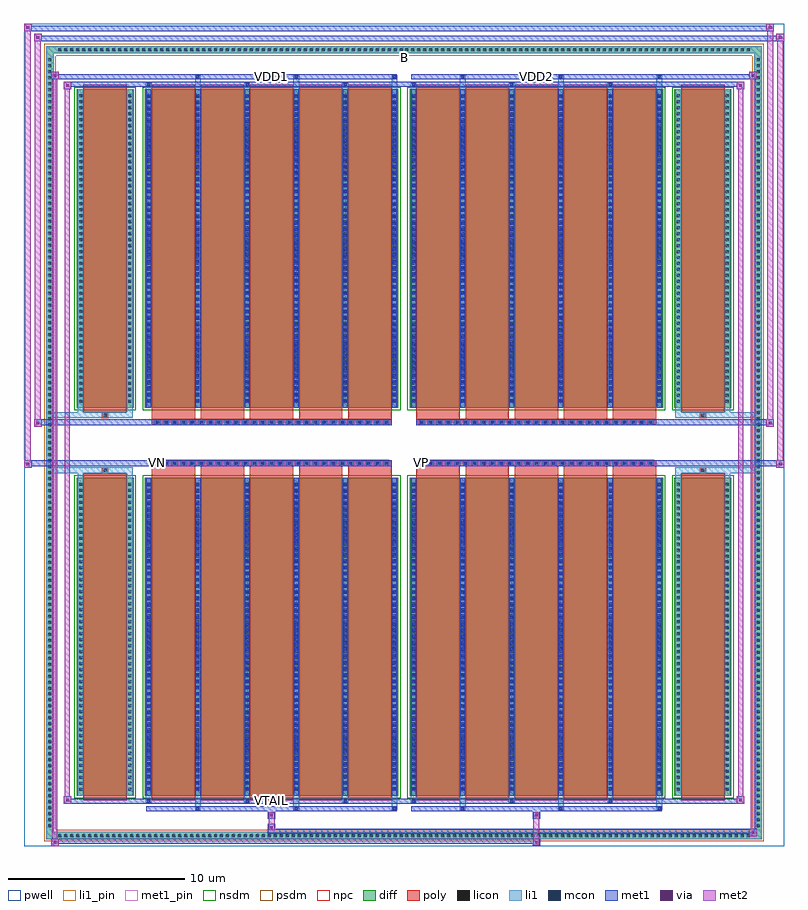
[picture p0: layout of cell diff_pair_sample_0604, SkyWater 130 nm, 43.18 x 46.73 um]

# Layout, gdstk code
import gdstk
lib = gdstk.Library(unit=1e-6, precision=5e-09)
def R(c, l, rs):  # rectangles x0, y0, x1, y1
    for r in rs: c.add(gdstk.rectangle(r[:2], r[2:], *l))
def A(c, l, x, y, w, h, nx, ny, dx, dy):  # array of equal rectangles
    R(c, l, [(x+i*dx, y+j*dy, x+i*dx+w, y+j*dy+h) for i in range(nx) for j in range(ny)])
def P(c, l, *ps):  # polygons
    for p in ps: c.add(gdstk.Polygon(p, *l))
pwell = (64, 44)
diff = (65, 20)
poly = (66, 20)
licon = (66, 44)
li1_pin = (67, 16)
li1 = (67, 20)
mcon = (67, 44)
met1_pin = (68, 16)
met1 = (68, 20)
via = (68, 44)
met2 = (69, 20)
nsdm = (93, 44)
psdm = (94, 20)
npc = (95, 20)

diff_pair_sample_0604 = lib.new_cell('diff_pair_sample_0604')
R(diff_pair_sample_0604, pwell, [(-21.59,-22.93,21.59,23.8), (-18.91,-21.12,-0.01,-0.8), (0.01,-21.12,18.91,-0.8), (-18.91,0.8,-0.01,21.12), (0.01,0.8,18.91,21.12)])
A(diff_pair_sample_0604, diff, -19.755, -22.53, 0.41, 0.41, 116, 2, 0.34, 44.65)
A(diff_pair_sample_0604, diff, -20.32, -21.965, 0.41, 0.41, 1, 129, 0, 0.34)
A(diff_pair_sample_0604, diff, 19.91, -21.965, 0.41, 0.41, 1, 129, 0, 0.34)
R(diff_pair_sample_0604, diff, [(-19.755,-22.53,19.755,-22.12), (-20.32,-21.965,-19.91,21.965), (19.91,-21.965,20.32,21.965), (-18.6,-20.075,-15.36,-1.985), (-14.72,-20.075,-0.32,-1.985), (0.32,-20.075,14.72,-1.985), (15.36,-20.075,18.6,-1.985), (-18.6,1.985,-15.36,20.075), (-14.72,1.985,-0.32,20.075), (0.32,1.985,14.72,20.075), (15.36,1.985,18.6,20.075), (-19.755,22.12,19.755,22.53)])
P(diff_pair_sample_0604, diff, [(20.32,22.53),(-20.32,22.53),(-20.32,-22.12),(-19.91,-22.12),(-19.91,22.12),(19.91,22.12),(19.91,-22.12),(-19.91,-22.12),(-20.32,-22.12),(-20.32,-22.53),(20.32,-22.53)])
A(diff_pair_sample_0604, poly, -14.33, -20.325, 2.46, 18.59, 5, 2, 2.79, 22.06)
A(diff_pair_sample_0604, poly, 0.71, -20.325, 2.46, 18.59, 5, 2, 2.79, 22.06)
A(diff_pair_sample_0604, poly, -14.33, -1.735, 2.46, 0.405, 5, 2, 2.79, 3.065)
A(diff_pair_sample_0604, poly, 0.71, -1.735, 2.46, 0.405, 5, 2, 2.79, 3.065)
A(diff_pair_sample_0604, poly, -14.185, -1.33, 0.33, 0.33, 27, 2, 0.5, 2.33)
A(diff_pair_sample_0604, poly, 0.855, -1.33, 0.33, 0.33, 27, 2, 0.5, 2.33)
R(diff_pair_sample_0604, poly, [(-18.21,-20.325,-15.75,-1.735), (15.75,-20.325,18.21,-1.735), (-17.145,-1.735,-16.815,-1.405), (-17.145,-1.735,-16.815,-1.405), (16.815,-1.735,17.145,-1.405), (16.815,-1.735,17.145,-1.405), (-14.33,-1.33,-0.71,-1), (0.71,-1.33,14.33,-1), (-14.33,1,-0.71,1.33), (0.71,1,14.33,1.33), (-17.145,1.405,-16.815,1.735), (-17.145,1.405,-16.815,1.735), (16.815,1.405,17.145,1.735), (16.815,1.405,17.145,1.735), (-18.21,1.735,-15.75,20.325), (15.75,1.735,18.21,20.325)])
A(diff_pair_sample_0604, licon, -19.635, -22.41, 0.17, 0.17, 116, 2, 0.34, 44.65)
A(diff_pair_sample_0604, licon, -20.2, -21.845, 0.17, 0.17, 1, 129, 0, 0.34)
A(diff_pair_sample_0604, licon, 20.03, -21.845, 0.17, 0.17, 1, 129, 0, 0.34)
A(diff_pair_sample_0604, licon, -18.46, -19.785, 0.17, 0.17, 1, 52, 0, 0.34)
A(diff_pair_sample_0604, licon, -15.67, -19.785, 0.17, 0.17, 1, 52, 0, 0.34)
A(diff_pair_sample_0604, licon, -14.58, -19.785, 0.17, 0.17, 6, 52, 2.79, 0.34)
A(diff_pair_sample_0604, licon, 0.46, -19.785, 0.17, 0.17, 6, 52, 2.79, 0.34)
A(diff_pair_sample_0604, licon, 15.5, -19.785, 0.17, 0.17, 1, 52, 0, 0.34)
A(diff_pair_sample_0604, licon, 18.29, -19.785, 0.17, 0.17, 1, 52, 0, 0.34)
A(diff_pair_sample_0604, licon, -14.105, -1.25, 0.17, 0.17, 27, 2, 0.5, 2.33)
A(diff_pair_sample_0604, licon, 0.935, -1.25, 0.17, 0.17, 27, 2, 0.5, 2.33)
A(diff_pair_sample_0604, licon, -18.46, 2.275, 0.17, 0.17, 1, 52, 0, 0.34)
A(diff_pair_sample_0604, licon, -15.67, 2.275, 0.17, 0.17, 1, 52, 0, 0.34)
A(diff_pair_sample_0604, licon, -14.58, 2.275, 0.17, 0.17, 6, 52, 2.79, 0.34)
A(diff_pair_sample_0604, licon, 0.46, 2.275, 0.17, 0.17, 6, 52, 2.79, 0.34)
A(diff_pair_sample_0604, licon, 15.5, 2.275, 0.17, 0.17, 1, 52, 0, 0.34)
A(diff_pair_sample_0604, licon, 18.29, 2.275, 0.17, 0.17, 1, 52, 0, 0.34)
R(diff_pair_sample_0604, licon, [(-17.065,-1.655,-16.895,-1.485), (16.895,-1.655,17.065,-1.485), (-17.065,1.485,-16.895,1.655), (16.895,1.485,17.065,1.655)])
R(diff_pair_sample_0604, li1_pin, [(-0.25,21.62,0.25,22.12)])
A(diff_pair_sample_0604, li1, -19.715, -22.49, 0.33, 0.33, 116, 2, 0.34, 44.65)
A(diff_pair_sample_0604, li1, -20.28, -21.925, 0.33, 0.33, 1, 129, 0, 0.34)
A(diff_pair_sample_0604, li1, 19.95, -21.925, 0.33, 0.33, 1, 129, 0, 0.34)
A(diff_pair_sample_0604, li1, -11.87, -20.88, 0.33, 0.805, 3, 2, 5.58, 40.955)
A(diff_pair_sample_0604, li1, -11.79, -20.88, 0.17, 0.17, 3, 2, 5.58, 41.59)
A(diff_pair_sample_0604, li1, 3.17, -20.88, 0.33, 0.805, 3, 2, 5.58, 40.955)
A(diff_pair_sample_0604, li1, 3.25, -20.88, 0.17, 0.17, 3, 2, 5.58, 41.59)
A(diff_pair_sample_0604, li1, -14.66, -20.45, 0.33, 0.375, 3, 2, 5.58, 40.525)
A(diff_pair_sample_0604, li1, -14.58, -20.45, 0.17, 0.17, 3, 2, 5.58, 40.73)
A(diff_pair_sample_0604, li1, 0.38, -20.45, 0.33, 0.375, 3, 2, 5.58, 40.525)
A(diff_pair_sample_0604, li1, 0.46, -20.45, 0.17, 0.17, 3, 2, 5.58, 40.73)
A(diff_pair_sample_0604, li1, -14.66, -20.075, 0.33, 18.09, 6, 2, 2.79, 22.06)
A(diff_pair_sample_0604, li1, 0.38, -20.075, 0.33, 18.09, 6, 2, 2.79, 22.06)
A(diff_pair_sample_0604, li1, -18.54, -19.865, 0.33, 0.33, 1, 52, 0, 0.34)
A(diff_pair_sample_0604, li1, -15.75, -19.865, 0.33, 0.33, 1, 52, 0, 0.34)
A(diff_pair_sample_0604, li1, -14.66, -19.865, 0.33, 0.33, 6, 52, 2.79, 0.34)
A(diff_pair_sample_0604, li1, 0.38, -19.865, 0.33, 0.33, 6, 52, 2.79, 0.34)
A(diff_pair_sample_0604, li1, 15.42, -19.865, 0.33, 0.33, 1, 52, 0, 0.34)
A(diff_pair_sample_0604, li1, 18.21, -19.865, 0.33, 0.33, 1, 52, 0, 0.34)
A(diff_pair_sample_0604, li1, -14.58, -19.755, 0.17, 0.17, 6, 49, 2.79, 0.36)
A(diff_pair_sample_0604, li1, -14.58, -19.755, 0.17, 17.45, 6, 2, 2.79, 22.06)
A(diff_pair_sample_0604, li1, 0.46, -19.755, 0.17, 0.17, 6, 49, 2.79, 0.36)
A(diff_pair_sample_0604, li1, 0.46, -19.755, 0.17, 17.45, 6, 2, 2.79, 22.06)
A(diff_pair_sample_0604, li1, -14.185, -1.33, 0.33, 0.33, 27, 2, 0.5, 2.33)
A(diff_pair_sample_0604, li1, 0.855, -1.33, 0.33, 0.33, 27, 2, 0.5, 2.33)
A(diff_pair_sample_0604, li1, -18.54, 2.195, 0.33, 0.33, 1, 52, 0, 0.34)
A(diff_pair_sample_0604, li1, -15.75, 2.195, 0.33, 0.33, 1, 52, 0, 0.34)
A(diff_pair_sample_0604, li1, -14.66, 2.195, 0.33, 0.33, 6, 52, 2.79, 0.34)
A(diff_pair_sample_0604, li1, 0.38, 2.195, 0.33, 0.33, 6, 52, 2.79, 0.34)
A(diff_pair_sample_0604, li1, 15.42, 2.195, 0.33, 0.33, 1, 52, 0, 0.34)
A(diff_pair_sample_0604, li1, 18.21, 2.195, 0.33, 0.33, 1, 52, 0, 0.34)
A(diff_pair_sample_0604, li1, -14.58, 2.305, 0.17, 0.17, 6, 49, 2.79, 0.36)
A(diff_pair_sample_0604, li1, 0.46, 2.305, 0.17, 0.17, 6, 49, 2.79, 0.36)
R(diff_pair_sample_0604, li1, [(-20.32,-22.53,-19.91,-22.12), (-20.32,-22.53,-19.91,-22.12), (-19.91,-22.53,19.91,-22.12), (19.91,-22.53,20.32,-22.12), (19.91,-22.53,20.32,-22.12), (-20.32,-22.12,-19.91,22.12), (19.91,-22.12,20.32,22.12), (-18.54,-20.075,-18.21,-1.985), (-15.75,-20.075,-15.42,-1.985), (15.42,-20.075,15.75,-1.985), (18.21,-20.075,18.54,-1.985), (-18.54,-1.985,-18.21,-1.405), (-15.75,-1.985,-15.42,-1.405), (15.42,-1.985,15.75,-1.405), (18.21,-1.985,18.54,-1.405), (-20.32,-1.735,-17.145,-1.405), (-18.54,-1.735,-17.145,-1.405), (-17.145,-1.735,-16.815,-1.405), (-16.815,-1.735,-15.42,-1.405), (15.42,-1.735,16.815,-1.405), (16.815,-1.735,17.145,-1.405), (16.815,-1.735,20.32,-1.405), (17.145,-1.735,18.54,-1.405), (-20.32,1.405,-17.145,1.735), (-18.54,1.405,-17.145,1.735), (-18.54,1.405,-18.21,1.985), (-17.145,1.405,-16.815,1.735), (-16.815,1.405,-15.42,1.735), (-15.75,1.405,-15.42,1.985), (15.42,1.405,16.815,1.735), (15.42,1.405,15.75,1.985), (16.815,1.405,17.145,1.735), (16.815,1.405,20.32,1.735), (17.145,1.405,18.54,1.735), (18.21,1.405,18.54,1.985), (-18.54,1.985,-18.21,20.075), (-15.75,1.985,-15.42,20.075), (15.42,1.985,15.75,20.075), (18.21,1.985,18.54,20.075), (-20.32,22.12,-19.91,22.53), (-20.32,22.12,-19.91,22.53), (-19.91,22.12,19.91,22.53), (19.91,22.12,20.32,22.53), (19.91,22.12,20.32,22.53)])
A(diff_pair_sample_0604, mcon, -11.79, -20.88, 0.17, 0.17, 3, 2, 5.58, 41.59)
A(diff_pair_sample_0604, mcon, 3.25, -20.88, 0.17, 0.17, 3, 2, 5.58, 41.59)
A(diff_pair_sample_0604, mcon, -14.58, -20.45, 0.17, 0.17, 3, 2, 5.58, 40.73)
A(diff_pair_sample_0604, mcon, 0.46, -20.45, 0.17, 0.17, 3, 2, 5.58, 40.73)
A(diff_pair_sample_0604, mcon, -14.58, -19.755, 0.17, 0.17, 6, 49, 2.79, 0.36)
A(diff_pair_sample_0604, mcon, 0.46, -19.755, 0.17, 0.17, 6, 49, 2.79, 0.36)
A(diff_pair_sample_0604, mcon, -14.105, -1.25, 0.17, 0.17, 27, 2, 0.5, 2.33)
A(diff_pair_sample_0604, mcon, 0.935, -1.25, 0.17, 0.17, 27, 2, 0.5, 2.33)
A(diff_pair_sample_0604, mcon, -14.58, 2.305, 0.17, 0.17, 6, 49, 2.79, 0.36)
A(diff_pair_sample_0604, mcon, 0.46, 2.305, 0.17, 0.17, 6, 49, 2.79, 0.36)
R(diff_pair_sample_0604, met1_pin, [(-7.655,-20.49,-7.385,-20.22), (-14.155,-1.29,-13.885,-1.02), (0.885,-1.29,1.155,-1.02), (-7.655,20.67,-7.385,20.94), (7.385,20.67,7.655,20.94)])
A(diff_pair_sample_0604, met1, -11.85, -20.94, 0.29, 0.29, 3, 2, 5.58, 41.59)
A(diff_pair_sample_0604, met1, 3.19, -20.94, 0.29, 0.29, 3, 2, 5.58, 41.59)
A(diff_pair_sample_0604, met1, -14.64, -20.51, 0.29, 0.29, 3, 2, 5.58, 40.73)
A(diff_pair_sample_0604, met1, 0.4, -20.51, 0.29, 0.29, 3, 2, 5.58, 40.73)
A(diff_pair_sample_0604, met1, -14.64, -20.075, 0.29, 18.09, 6, 2, 2.79, 22.06)
A(diff_pair_sample_0604, met1, 0.4, -20.075, 0.29, 18.09, 6, 2, 2.79, 22.06)
A(diff_pair_sample_0604, met1, -14.64, -19.815, 0.29, 0.29, 6, 49, 2.79, 0.36)
A(diff_pair_sample_0604, met1, 0.4, -19.815, 0.29, 0.29, 6, 49, 2.79, 0.36)
A(diff_pair_sample_0604, met1, -14.165, -1.31, 0.29, 0.29, 27, 2, 0.5, 2.33)
A(diff_pair_sample_0604, met1, 0.875, -1.31, 0.29, 0.29, 27, 2, 0.5, 2.33)
A(diff_pair_sample_0604, met1, -14.64, 2.245, 0.29, 0.29, 6, 49, 2.79, 0.36)
A(diff_pair_sample_0604, met1, 0.4, 2.245, 0.29, 0.29, 6, 49, 2.79, 0.36)
R(diff_pair_sample_0604, met1, [(-20.05,-22.93,-19.62,-22.5), (7.305,-22.93,7.735,-22.5), (-20.05,-22.79,7.735,-22.5), (19.62,-22.36,20.05,-21.93), (-7.735,-22.22,20.05,-21.93), (-7.735,-22.08,-7.305,-21.65), (-7.735,-21.37,-7.305,-20.94), (7.305,-21.37,7.735,-20.94), (-14.64,-20.94,-0.4,-20.65), (0.4,-20.94,14.64,-20.65), (-19.34,-20.51,-18.91,-20.08), (-19.34,-20.51,-14.64,-20.22), (-14.64,-20.51,-0.4,-20.22), (-0.4,-20.51,0.4,-20.22), (0.4,-20.51,14.64,-20.22), (14.64,-20.51,19.34,-20.22), (18.91,-20.51,19.34,-20.08), (-21.59,-1.43,-21.16,-1), (21.16,-1.43,21.59,-1), (-21.59,-1.33,-0.71,-1), (-14.33,-1.33,-0.71,-1), (0.71,-1.33,14.33,-1), (0.71,-1.33,21.59,-1), (-21.02,0.9,-20.59,1.33), (20.59,0.9,21.02,1.33), (-21.02,1,-14.33,1.33), (-14.33,1,-0.71,1.33), (0.71,1,14.33,1.33), (14.33,1,21.02,1.33), (-19.34,20.08,-18.91,20.51), (18.91,20.08,19.34,20.51), (-19.34,20.22,-14.64,20.51), (-14.64,20.22,-0.4,20.51), (-0.4,20.22,0.4,20.51), (0.4,20.22,14.64,20.51), (14.64,20.22,19.34,20.51), (-20.05,20.65,-19.62,21.08), (-20.05,20.65,-14.64,20.94), (-14.64,20.65,-0.4,20.94), (0.4,20.65,14.64,20.94), (14.64,20.65,20.05,20.94), (19.62,20.65,20.05,21.08), (-21.02,22.8,-20.59,23.23), (-21.02,22.8,-18.91,23.13), (-18.91,22.8,18.91,23.13), (18.91,22.8,21.59,23.13), (21.16,22.8,21.59,23.23), (-21.59,23.37,-21.16,23.8), (-21.59,23.37,-18.91,23.7), (-18.91,23.37,18.91,23.7), (18.91,23.37,21.02,23.7), (20.59,23.37,21.02,23.8)])
R(diff_pair_sample_0604, via, [(-19.91,-22.79,-19.76,-22.64), (7.445,-22.79,7.595,-22.64), (19.76,-22.22,19.91,-22.07), (-7.595,-21.94,-7.445,-21.79), (-7.595,-21.23,-7.445,-21.08), (7.445,-21.23,7.595,-21.08), (-19.2,-20.37,-19.05,-20.22), (19.05,-20.37,19.2,-20.22), (-21.45,-1.29,-21.3,-1.14), (21.3,-1.29,21.45,-1.14), (-20.88,1.04,-20.73,1.19), (20.73,1.04,20.88,1.19), (-19.2,20.22,-19.05,20.37), (19.05,20.22,19.2,20.37), (-19.91,20.79,-19.76,20.94), (19.76,20.79,19.91,20.94), (-20.88,22.94,-20.73,23.09), (21.3,22.94,21.45,23.09), (-21.45,23.51,-21.3,23.66), (20.73,23.51,20.88,23.66)])
R(diff_pair_sample_0604, met2, [(-20.05,-22.93,-19.62,-22.5), (-19.98,-22.93,-19.69,21.08), (-19.69,-22.93,-19.62,-22.5), (-20,-22.88,-19.67,-22.55), (7.355,-22.88,7.685,-22.55), (7.355,-22.55,7.685,-21.32), (19.62,-22.36,20.05,-21.93), (19.69,-22.36,19.98,21.08), (19.98,-22.36,20.05,-21.93), (19.67,-22.31,20,-21.98), (-7.685,-22.03,-7.355,-21.7), (-7.685,-21.7,-7.355,-21.32), (-7.685,-21.32,-7.355,-20.99), (7.355,-21.32,7.685,-20.99), (-19.34,-20.51,-18.91,-20.08), (-19.27,-20.51,-18.98,20.51), (-18.98,-20.51,-18.91,-20.08), (18.91,-20.51,19.34,-20.08), (18.98,-20.51,19.27,20.51), (19.27,-20.51,19.34,-20.08), (-19.29,-20.46,-18.96,-20.13), (18.96,-20.46,19.29,-20.13), (-21.59,-1.43,-21.16,-1), (-21.54,-1.43,-21.21,23.8), (-21.21,-1.43,-21.16,-1), (21.16,-1.43,21.59,-1), (21.21,-1.43,21.54,23.23), (21.54,-1.43,21.59,-1), (-21.54,-1.38,-21.21,-1.05), (21.21,-1.38,21.54,-1.05), (-21.02,0.9,-20.59,1.33), (-20.97,0.9,-20.64,23.23), (-20.64,0.9,-20.59,1.33), (20.59,0.9,21.02,1.33), (20.64,0.9,20.97,23.8), (20.97,0.9,21.02,1.33), (-20.97,0.95,-20.64,1.28), (20.64,0.95,20.97,1.28), (-19.34,20.08,-18.91,20.51), (-18.98,20.08,-18.91,20.51), (18.91,20.08,19.34,20.51), (19.27,20.08,19.34,20.51), (-19.29,20.13,-18.96,20.46), (18.96,20.13,19.29,20.46), (-20.05,20.65,-19.62,21.08), (-19.69,20.65,-19.62,21.08), (19.62,20.65,20.05,21.08), (19.98,20.65,20.05,21.08), (-20,20.7,-19.67,21.03), (19.67,20.7,20,21.03), (-21.02,22.8,-20.59,23.23), (-20.64,22.8,-20.59,23.23), (21.16,22.8,21.59,23.23), (21.54,22.8,21.59,23.23), (-20.97,22.85,-20.64,23.18), (21.21,22.85,21.54,23.18), (-21.59,23.37,-21.16,23.8), (-21.21,23.37,-21.16,23.8), (20.59,23.37,21.02,23.8), (20.97,23.37,21.02,23.8), (-21.54,23.42,-21.21,23.75), (20.64,23.42,20.97,23.75)])
R(diff_pair_sample_0604, nsdm, [(-18.73,-20.205,-15.23,-1.855), (-14.85,-20.205,-0.19,-1.855), (0.19,-20.205,14.85,-1.855), (15.23,-20.205,18.73,-1.855), (-18.73,1.855,-15.23,20.205), (-14.85,1.855,-0.19,20.205), (0.19,1.855,14.85,20.205), (15.23,1.855,18.73,20.205)])
P(diff_pair_sample_0604, psdm, [(20.45,22.66),(-20.45,22.66),(-20.45,-21.99),(-19.78,-21.99),(-19.78,21.99),(19.78,21.99),(19.78,-21.99),(-19.78,-21.99),(-20.45,-21.99),(-20.45,-22.66),(20.45,-22.66)])
A(diff_pair_sample_0604, npc, -14.205, -1.35, 0.37, 0.37, 27, 2, 0.5, 2.33)
A(diff_pair_sample_0604, npc, 0.835, -1.35, 0.37, 0.37, 27, 2, 0.5, 2.33)
R(diff_pair_sample_0604, npc, [(-17.165,-1.755,-16.795,-1.385), (16.795,-1.755,17.165,-1.385), (-14.205,-1.35,-13.335,-0.98), (-14.205,-1.35,-13.335,-0.98), (-13.705,-1.35,-12.835,-0.98), (-13.705,-1.35,-12.835,-0.98), (-13.205,-1.35,-12.335,-0.98), (-13.205,-1.35,-12.335,-0.98), (-12.705,-1.35,-11.835,-0.98), (-12.705,-1.35,-11.835,-0.98), (-12.205,-1.35,-11.335,-0.98), (-12.205,-1.35,-11.335,-0.98), (-11.705,-1.35,-10.835,-0.98), (-11.705,-1.35,-10.835,-0.98), (-11.205,-1.35,-10.335,-0.98), (-11.205,-1.35,-10.335,-0.98), (-10.705,-1.35,-9.835,-0.98), (-10.705,-1.35,-9.835,-0.98), (-10.205,-1.35,-9.335,-0.98), (-10.205,-1.35,-9.335,-0.98), (-9.705,-1.35,-8.835,-0.98), (-9.705,-1.35,-8.835,-0.98), (-9.205,-1.35,-8.335,-0.98), (-9.205,-1.35,-8.335,-0.98), (-8.705,-1.35,-7.835,-0.98), (-8.705,-1.35,-7.835,-0.98), (-8.205,-1.35,-7.335,-0.98), (-8.205,-1.35,-7.335,-0.98), (-7.705,-1.35,-6.835,-0.98), (-7.705,-1.35,-6.835,-0.98), (-7.205,-1.35,-6.335,-0.98), (-7.205,-1.35,-6.335,-0.98), (-6.705,-1.35,-5.835,-0.98), (-6.705,-1.35,-5.835,-0.98), (-6.205,-1.35,-5.335,-0.98), (-6.205,-1.35,-5.335,-0.98), (-5.705,-1.35,-4.835,-0.98), (-5.705,-1.35,-4.835,-0.98), (-5.205,-1.35,-4.335,-0.98), (-5.205,-1.35,-4.335,-0.98), (-4.705,-1.35,-3.835,-0.98), (-4.705,-1.35,-3.835,-0.98), (-4.205,-1.35,-3.335,-0.98), (-4.205,-1.35,-3.335,-0.98), (-3.705,-1.35,-2.835,-0.98), (-3.705,-1.35,-2.835,-0.98), (-3.205,-1.35,-2.335,-0.98), (-3.205,-1.35,-2.335,-0.98), (-2.705,-1.35,-1.835,-0.98), (-2.705,-1.35,-1.835,-0.98), (-2.205,-1.35,-1.335,-0.98), (-2.205,-1.35,-1.335,-0.98), (-1.705,-1.35,-0.835,-0.98), (-1.705,-1.35,-0.835,-0.98), (0.835,-1.35,1.705,-0.98), (0.835,-1.35,1.705,-0.98), (1.335,-1.35,2.205,-0.98), (1.335,-1.35,2.205,-0.98), (1.835,-1.35,2.705,-0.98), (1.835,-1.35,2.705,-0.98), (2.335,-1.35,3.205,-0.98), (2.335,-1.35,3.205,-0.98), (2.835,-1.35,3.705,-0.98), (2.835,-1.35,3.705,-0.98), (3.335,-1.35,4.205,-0.98), (3.335,-1.35,4.205,-0.98), (3.835,-1.35,4.705,-0.98), (3.835,-1.35,4.705,-0.98), (4.335,-1.35,5.205,-0.98), (4.335,-1.35,5.205,-0.98), (4.835,-1.35,5.705,-0.98), (4.835,-1.35,5.705,-0.98), (5.335,-1.35,6.205,-0.98), (5.335,-1.35,6.205,-0.98), (5.835,-1.35,6.705,-0.98), (5.835,-1.35,6.705,-0.98), (6.335,-1.35,7.205,-0.98), (6.335,-1.35,7.205,-0.98), (6.835,-1.35,7.705,-0.98), (6.835,-1.35,7.705,-0.98), (7.335,-1.35,8.205,-0.98), (7.335,-1.35,8.205,-0.98), (7.835,-1.35,8.705,-0.98), (7.835,-1.35,8.705,-0.98), (8.335,-1.35,9.205,-0.98), (8.335,-1.35,9.205,-0.98), (8.835,-1.35,9.705,-0.98), (8.835,-1.35,9.705,-0.98), (9.335,-1.35,10.205,-0.98), (9.335,-1.35,10.205,-0.98), (9.835,-1.35,10.705,-0.98), (9.835,-1.35,10.705,-0.98), (10.335,-1.35,11.205,-0.98), (10.335,-1.35,11.205,-0.98), (10.835,-1.35,11.705,-0.98), (10.835,-1.35,11.705,-0.98), (11.335,-1.35,12.205,-0.98), (11.335,-1.35,12.205,-0.98), (11.835,-1.35,12.705,-0.98), (11.835,-1.35,12.705,-0.98), (12.335,-1.35,13.205,-0.98), (12.335,-1.35,13.205,-0.98), (12.835,-1.35,13.705,-0.98), (12.835,-1.35,13.705,-0.98), (13.335,-1.35,14.205,-0.98), (13.335,-1.35,14.205,-0.98), (-14.205,0.98,-13.335,1.35), (-14.205,0.98,-13.335,1.35), (-13.705,0.98,-12.835,1.35), (-13.705,0.98,-12.835,1.35), (-13.205,0.98,-12.335,1.35), (-13.205,0.98,-12.335,1.35), (-12.705,0.98,-11.835,1.35), (-12.705,0.98,-11.835,1.35), (-12.205,0.98,-11.335,1.35), (-12.205,0.98,-11.335,1.35), (-11.705,0.98,-10.835,1.35), (-11.705,0.98,-10.835,1.35), (-11.205,0.98,-10.335,1.35), (-11.205,0.98,-10.335,1.35), (-10.705,0.98,-9.835,1.35), (-10.705,0.98,-9.835,1.35), (-10.205,0.98,-9.335,1.35), (-10.205,0.98,-9.335,1.35), (-9.705,0.98,-8.835,1.35), (-9.705,0.98,-8.835,1.35), (-9.205,0.98,-8.335,1.35), (-9.205,0.98,-8.335,1.35), (-8.705,0.98,-7.835,1.35), (-8.705,0.98,-7.835,1.35), (-8.205,0.98,-7.335,1.35), (-8.205,0.98,-7.335,1.35), (-7.705,0.98,-6.835,1.35), (-7.705,0.98,-6.835,1.35), (-7.205,0.98,-6.335,1.35), (-7.205,0.98,-6.335,1.35), (-6.705,0.98,-5.835,1.35), (-6.705,0.98,-5.835,1.35), (-6.205,0.98,-5.335,1.35), (-6.205,0.98,-5.335,1.35), (-5.705,0.98,-4.835,1.35), (-5.705,0.98,-4.835,1.35), (-5.205,0.98,-4.335,1.35), (-5.205,0.98,-4.335,1.35), (-4.705,0.98,-3.835,1.35), (-4.705,0.98,-3.835,1.35), (-4.205,0.98,-3.335,1.35), (-4.205,0.98,-3.335,1.35), (-3.705,0.98,-2.835,1.35), (-3.705,0.98,-2.835,1.35), (-3.205,0.98,-2.335,1.35), (-3.205,0.98,-2.335,1.35), (-2.705,0.98,-1.835,1.35), (-2.705,0.98,-1.835,1.35), (-2.205,0.98,-1.335,1.35), (-2.205,0.98,-1.335,1.35), (-1.705,0.98,-0.835,1.35), (-1.705,0.98,-0.835,1.35), (0.835,0.98,1.705,1.35), (0.835,0.98,1.705,1.35), (1.335,0.98,2.205,1.35), (1.335,0.98,2.205,1.35), (1.835,0.98,2.705,1.35), (1.835,0.98,2.705,1.35), (2.335,0.98,3.205,1.35), (2.335,0.98,3.205,1.35), (2.835,0.98,3.705,1.35), (2.835,0.98,3.705,1.35), (3.335,0.98,4.205,1.35), (3.335,0.98,4.205,1.35), (3.835,0.98,4.705,1.35), (3.835,0.98,4.705,1.35), (4.335,0.98,5.205,1.35), (4.335,0.98,5.205,1.35), (4.835,0.98,5.705,1.35), (4.835,0.98,5.705,1.35), (5.335,0.98,6.205,1.35), (5.335,0.98,6.205,1.35), (5.835,0.98,6.705,1.35), (5.835,0.98,6.705,1.35), (6.335,0.98,7.205,1.35), (6.335,0.98,7.205,1.35), (6.835,0.98,7.705,1.35), (6.835,0.98,7.705,1.35), (7.335,0.98,8.205,1.35), (7.335,0.98,8.205,1.35), (7.835,0.98,8.705,1.35), (7.835,0.98,8.705,1.35), (8.335,0.98,9.205,1.35), (8.335,0.98,9.205,1.35), (8.835,0.98,9.705,1.35), (8.835,0.98,9.705,1.35), (9.335,0.98,10.205,1.35), (9.335,0.98,10.205,1.35), (9.835,0.98,10.705,1.35), (9.835,0.98,10.705,1.35), (10.335,0.98,11.205,1.35), (10.335,0.98,11.205,1.35), (10.835,0.98,11.705,1.35), (10.835,0.98,11.705,1.35), (11.335,0.98,12.205,1.35), (11.335,0.98,12.205,1.35), (11.835,0.98,12.705,1.35), (11.835,0.98,12.705,1.35), (12.335,0.98,13.205,1.35), (12.335,0.98,13.205,1.35), (12.835,0.98,13.705,1.35), (12.835,0.98,13.705,1.35), (13.335,0.98,14.205,1.35), (13.335,0.98,14.205,1.35), (-17.165,1.385,-16.795,1.755), (16.795,1.385,17.165,1.755)])
diff_pair_sample_0604.add(gdstk.Label('VTAIL', (-7.52,-20.355), layer=68, texttype=5))
diff_pair_sample_0604.add(gdstk.Label('VN', (-14.02,-1.155), layer=68, texttype=5))
diff_pair_sample_0604.add(gdstk.Label('VP', (1.02,-1.155), layer=68, texttype=5))
diff_pair_sample_0604.add(gdstk.Label('B', (0,21.87), layer=67, texttype=5))
diff_pair_sample_0604.add(gdstk.Label('VDD2', (7.52,20.805), layer=68, texttype=5))
diff_pair_sample_0604.add(gdstk.Label('VDD1', (-7.52,20.805), layer=68, texttype=5))

lib.write_gds('diff_pair_sample_0604.gds')
